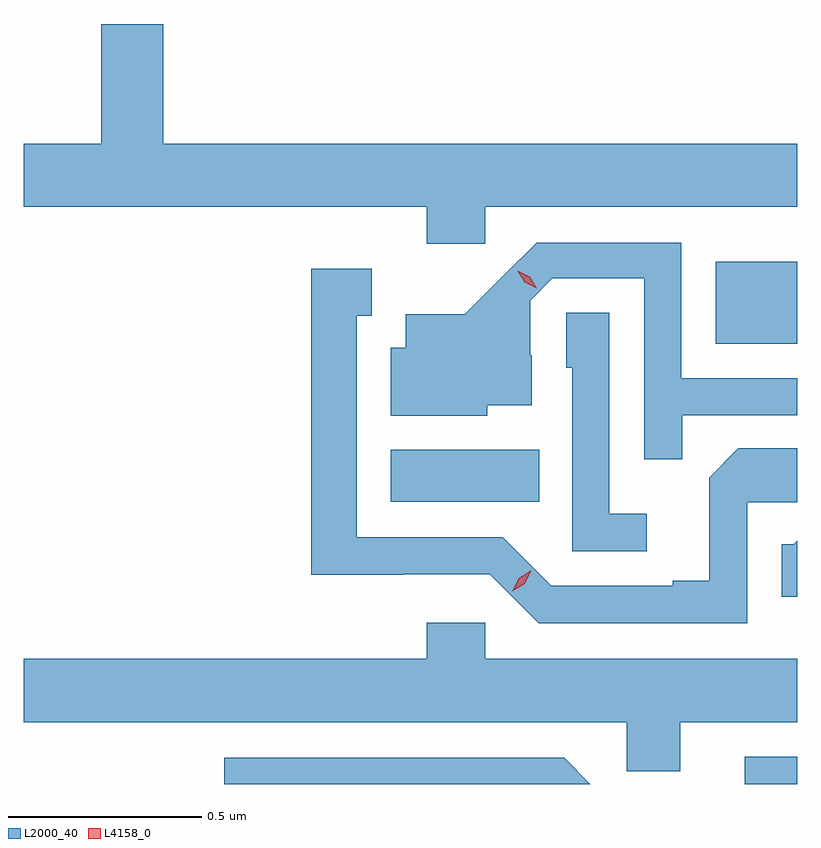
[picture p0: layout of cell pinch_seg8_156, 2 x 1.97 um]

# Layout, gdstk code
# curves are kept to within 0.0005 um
import gdstk
lib = gdstk.Library(unit=1e-6, precision=1e-09)
def R(c, l, rs):  # rectangles x0, y0, x1, y1
    for r in rs: c.add(gdstk.rectangle(r[:2], r[2:], *l))
def P(c, l, *ps):  # polygons
    for p in ps: c.add(gdstk.Polygon(p, *l))
L2000_40 = (2000, 40)
L4158_0 = (4158, 0)

pinch_seg8_156 = lib.new_cell('pinch_seg8_156')
R(pinch_seg8_156, L2000_40, [(706.829,1141.648,706.965,1141.719), (705.914,1142.378,706.298,1142.512), (706.754,1142.786,706.965,1142.998)])
P(pinch_seg8_156, L2000_40, [(706.158,1143.14),(706.965,1143.14),(706.965,1143.304),(705.326,1143.304),(705.326,1143.613),(705.166,1143.613),(705.166,1143.304),(704.965,1143.304),(704.965,1143.14),(706.007,1143.14),(706.007,1143.045),(706.158,1143.045)],
  [(706.667,1142.601),(706.965,1142.601),(706.965,1142.697),(706.665,1142.697),(706.665,1143.048),(706.292,1143.048),(706.105,1142.863),(705.953,1142.863),(705.953,1142.776),(705.914,1142.776),(705.914,1142.6),(706.164,1142.6),(706.164,1142.627),(706.279,1142.627),(706.279,1142.756),(706.275,1142.756),(706.275,1142.898),(706.332,1142.955),(706.569,1142.955),(706.569,1142.488),(706.667,1142.488)],
  [(706.836,1142.376),(706.965,1142.376),(706.965,1142.516),(706.813,1142.516),(706.737,1142.44),(706.737,1142.173),(706.643,1142.173),(706.643,1142.16),(706.329,1142.16),(706.203,1142.286),(705.826,1142.286),(705.826,1142.859),(705.865,1142.859),(705.865,1142.98),(705.708,1142.98),(705.708,1142.189),(705.948,1142.189),(705.948,1142.19),(706.17,1142.19),(706.296,1142.064),(706.836,1142.064)],
  [(706.576,1142.347),(706.479,1142.347),(706.479,1142.867),(706.368,1142.867),(706.368,1142.724),(706.383,1142.724),(706.383,1142.25),(706.576,1142.25)],
  [(706.965,1142.277),(706.956,1142.268),(706.925,1142.268),(706.925,1142.132),(706.965,1142.132)],
  [(706.663,1141.808),(706.965,1141.808),(706.965,1141.972),(706.158,1141.972),(706.158,1142.065),(706.007,1142.065),(706.007,1141.972),(704.965,1141.972),(704.965,1141.808),(706.524,1141.808),(706.524,1141.681),(706.663,1141.681)],
  [(706.362,1141.716),(705.483,1141.716),(705.483,1141.648),(706.43,1141.648)])
P(pinch_seg8_156, L4158_0, [(706.291,1142.93),(706.26,1142.945),(706.242,1142.974),(706.242,1142.975),(706.242,1142.975),(706.273,1142.96),(706.291,1142.93),(706.291,1142.93)],
  [(706.228,1142.146),(706.228,1142.147),(706.245,1142.18),(706.276,1142.199),(706.277,1142.199),(706.277,1142.199),(706.26,1142.166),(706.228,1142.146)])

lib.write_gds('pinch_seg8_156.gds')
